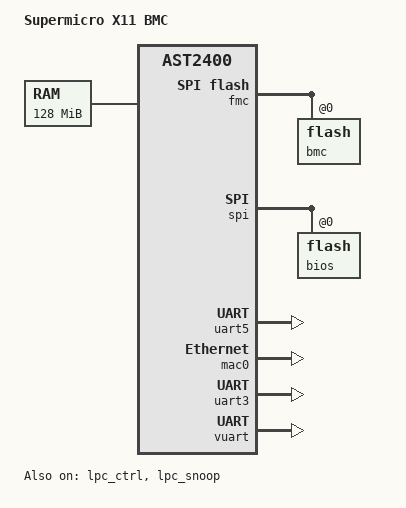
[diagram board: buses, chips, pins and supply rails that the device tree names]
// SPDX-License-Identifier: GPL-2.0+
/dts-v1/;

#include "aspeed-g4.dtsi"

/ {
	model = "Supermicro X11 BMC";
	compatible = "aspeed,ast2400";

	aliases {
		con = &uart5;
	};
	chosen {
		stdout-path = "con:115200n8";
	};

	memory@40000000 {
        /* 128 MiB DDR3 memory */
		reg = <0x40000000 0x08000000>;
	};

	reserved-memory {
		#address-cells = <1>;
		#size-cells = <1>;
		ranges;

 		vga_memory: framebuffer@47000000 {
			no-map;
			reg = <0x47000000 0x01000000>; /* 16MB */
		};

 		flash_memory: region@98000000 {
			no-map;
			reg = <0x98000000 0x01000000>; /* 16MB */
		};
	};
};

&fmc {
	status = "okay";
	flash@0 {
		status = "okay";
		//m25p,fast-read;
		m25p;
		label = "bmc";
#include "ubmc-flash-layout.dtsi"
	};
};

&spi {
	status = "okay";
	pinctrl-names = "default";
	pinctrl-0 = <&pinctrl_spi1debug_default>;
	flash@0 {
		status = "okay";
		m25p,fast-read;
		label = "bios";
	};
};

// /dev/ttyS4: BMC console UART
&uart5 {
	status = "okay";
};

&mac0 {
	status = "okay";

 	use-ncsi;
	no-hw-checksum;

 	pinctrl-names = "default";
	pinctrl-0 = <&pinctrl_rmii1_default>;
};


// /dev/ttyS2: Host's ttyS1
&uart3 {
	status = "okay";
};

&vuart {
    status = "okay";
};

&lpc_ctrl {
    status = "okay";
};

&lpc_snoop {
    status = "okay";
    snoop-ports = <0x80>;
};

&pinctrl {
	pinctrl-names = "default";
	pinctrl-0 = <&pinctrl_flbusy_default &pinctrl_flwp_default
 			     &pinctrl_vgahs_default &pinctrl_vgavs_default
			     &pinctrl_ddcclk_default &pinctrl_ddcdat_default>;
};
